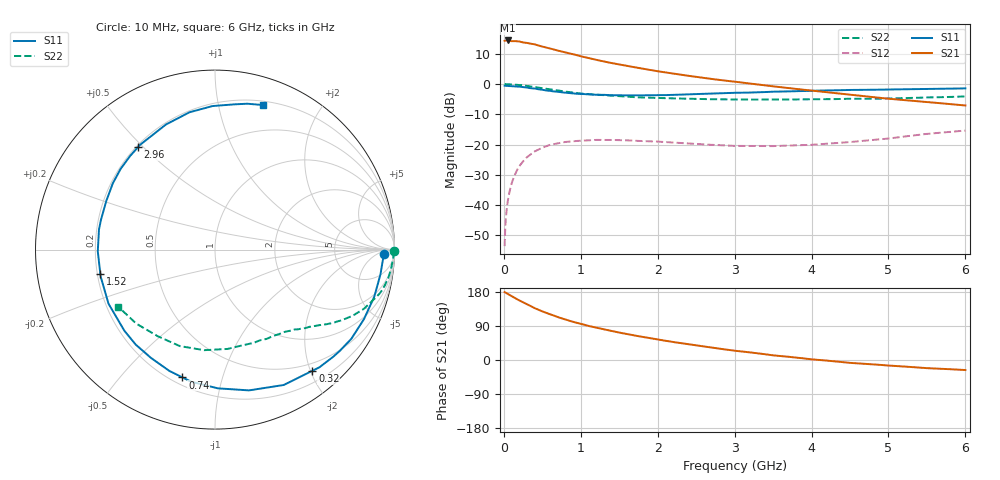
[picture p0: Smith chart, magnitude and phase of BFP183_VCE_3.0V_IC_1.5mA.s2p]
! Infineon Technologies  Discrete & RF Semiconductors
! BFP183
! VCE = 3.0 V,  IC =  1.5 mA
! Common Emitter S-Parameters:  Jan 2016
# GHz  S  MA  R  50
!  f  S11  S21  S12  S22
! GHz  MAG  ANG  MAG  ANG  MAG  ANG  MAG  ANG
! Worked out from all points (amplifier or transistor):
!   210 points, 10 MHz to 6 GHz, reference 50 ohm
!   highest |S21| = 14.4 dB at 50 MHz (marker M1)
!   |S21| within 3 dB of that: start of sweep to 651.1 MHz
!   unconditionally stable (mu >= 1): 2.249 GHz to end of sweep
!   at 185 MHz: K = 0.09, MSG = 21.0 dB, |S12| = -27.8 dB
!   at 1.52 GHz: K = 0.65, MSG = 12.5 dB, |S12| = -18.5 dB
!   at 6 GHz: K = 1.01, MAG = 3.5 dB, |S12| = -15.4 dB
!   S11 on the Smith chart (normalised r, x): 10 MHz: 27, -13; 320 MHz: 0.38, -2.03; 740 MHz: 0.24, -0.75; 1.52 GHz: 0.21, -0.10; 2.96 GHz: 0.21, +0.48; 6 GHz: 0.24, +1.36
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0.01  0.9418 -1.6  5.187 179.2  0.0021 90.6  0.9994 -0.6
0.015  0.9394 -2.5  5.209 178.7  0.0033 91.0  0.9974 -0.9
0.025  0.9359 -4.2  5.234 177.6  0.0057 90.3  0.9952 -1.5
0.05  0.9322 -8.5  5.257 174.3  0.0114 88.5  0.994 -3.0
0.105  0.9235 -17.2  5.117 168.2  0.0236 78.7  0.9861 -6.4
0.2  0.9077 -33.2  5.056 157.3  0.0438 70.8  0.9669 -11.9
0.32  0.866 -51.2  4.73 145.3  0.0647 60.6  0.9236 -17.8
0.4  0.8459 -63.1  4.54 136.9  0.077 54.5  0.8936 -21.6
0.5  0.807 -76.4  4.165 128.1  0.0891 47.1  0.8527 -25.5
0.6  0.7732 -88.8  3.882 120.5  0.099 41.3  0.8157 -28.5
0.74  0.7348 -104.3  3.486 110.7  0.1073 34.0  0.7695 -32.1
0.88  0.7035 -118.6  3.163 101.9  0.1133 28.0  0.7286 -35.1
1.02  0.6859 -131.4  2.843 94.2  0.1165 22.7  0.6957 -37.8
1.2  0.6663 -145.8  2.518 85.3  0.1196 17.0  0.6684 -40.8
1.52  0.6529 -168.0  2.09 71.6  0.1183 10.5  0.6266 -45.4
2.02  0.6566 164.4  1.615 53.4  0.1117 4.4  0.5898 -53.1
2.4  0.6784 147.1  1.37 41.5  0.1045 2.5  0.5746 -60.0
2.96  0.7141 126.9  1.11 25.6  0.0958 5.6  0.5571 -71.0
3.1  0.7202 122.7  1.057 22.4  0.095 7.1  0.5548 -74.1
4.1  0.7809 98.6  0.757 0.2  0.1014 18.9  0.5627 -99.0
5.1  0.8167 82.3  0.559 -15.8  0.1309 26.3  0.5808 -126.3
6  0.8487 71.6  0.443 -26.5  0.1708 22.0  0.626 -149.5
